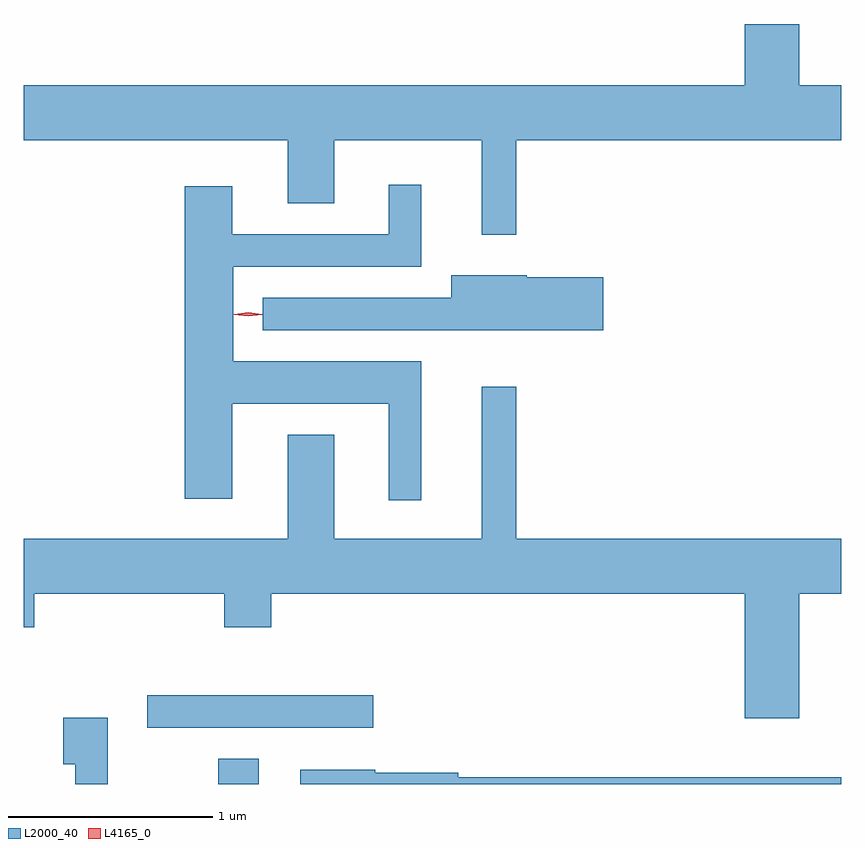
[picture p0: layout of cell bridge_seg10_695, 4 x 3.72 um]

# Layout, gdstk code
import gdstk
lib = gdstk.Library(unit=1e-6, precision=1e-09)
def R(c, l, rs):  # rectangles x0, y0, x1, y1
    for r in rs: c.add(gdstk.rectangle(r[:2], r[2:], *l))
def P(c, l, *ps):  # polygons
    for p in ps: c.add(gdstk.Polygon(p, *l))
L2000_40 = (2000, 40)
L4165_0 = (4165, 0)

bridge_seg10_695 = lib.new_cell('bridge_seg10_695')
R(bridge_seg10_695, L2000_40, [(931.781,2095.225,931.979,2095.349), (931.433,2095.501,932.538,2095.659)])
P(bridge_seg10_695, L2000_40, [(933.239,2098.376),(934.829,2098.376),(934.829,2098.644),(934.624,2098.644),(934.624,2098.944),(934.356,2098.944),(934.356,2098.644),(930.829,2098.644),(930.829,2098.376),(932.121,2098.376),(932.121,2098.066),(932.349,2098.066),(932.349,2098.376),(933.071,2098.376),(933.071,2097.913),(933.239,2097.913)],
  [(932.774,2097.294),(931.854,2097.294),(931.854,2097.756),(932.774,2097.756),(932.774,2098.158),(932.616,2098.158),(932.616,2097.914),(931.849,2097.914),(931.849,2098.149),(931.616,2098.149),(931.616,2096.621),(931.849,2096.621),(931.849,2097.086),(932.616,2097.086),(932.616,2096.613),(932.774,2096.613)],
  [(933.664,2097.704),(933.29,2097.704),(933.29,2097.714),(932.921,2097.714),(932.921,2097.604),(931.998,2097.604),(931.998,2097.446),(933.664,2097.446)],
  [(934.624,2096.156),(934.829,2096.156),(934.829,2096.424),(933.239,2096.424),(933.239,2097.168),(933.071,2097.168),(933.071,2096.424),(932.349,2096.424),(932.349,2096.934),(932.121,2096.934),(932.121,2096.424),(930.829,2096.424),(930.829,2095.991),(930.879,2095.991),(930.879,2096.156),(931.811,2096.156),(931.811,2095.991),(932.039,2095.991),(932.039,2096.156),(934.356,2096.156),(934.356,2095.546),(934.624,2095.546)],
  [(931.239,2095.549),(931.021,2095.549),(931.021,2095.321),(931.081,2095.321),(931.081,2095.225),(931.239,2095.225)],
  [(934.829,2095.259),(932.954,2095.259),(932.954,2095.279),(932.55,2095.279),(932.55,2095.294),(932.181,2095.294),(932.181,2095.225),(934.829,2095.225)])
P(bridge_seg10_695, L4165_0, [(931.927,2097.513),(931.861,2097.522),(931.86,2097.523),(931.861,2097.524),(931.927,2097.533),(931.992,2097.524),(931.993,2097.523),(931.992,2097.522)],
  [(931.927,2097.513),(931.858,2097.522),(931.857,2097.523),(931.858,2097.524),(931.927,2097.533),(931.996,2097.524),(931.996,2097.523),(931.996,2097.522)])

lib.write_gds('bridge_seg10_695.gds')
